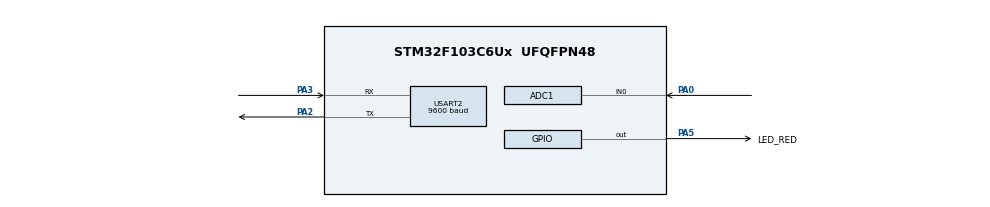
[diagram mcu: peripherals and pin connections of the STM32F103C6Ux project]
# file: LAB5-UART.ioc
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ADC1.Channel-0\#ChannelRegularConversion=ADC_CHANNEL_0
ADC1.ContinuousConvMode=ENABLE
ADC1.NbrOfConversionFlag=1
ADC1.Rank-0\#ChannelRegularConversion=1
ADC1.SamplingTime-0\#ChannelRegularConversion=ADC_SAMPLETIME_1CYCLE_5
ADC1.master=1
Mcu.Family=STM32F1
Mcu.Name=STM32F103C6Ux
Mcu.Package=UFQFPN48
NVIC.PriorityGroup=NVIC_PRIORITYGROUP_4
NVIC.TIM2_IRQn=true\:0\:0\:false\:false\:true\:true\:true
NVIC.USART2_IRQn=true\:0\:0\:false\:false\:true\:true\:true
PA0-WKUP.Signal=ADCx_IN0
PA2.Mode=Asynchronous
PA2.Signal=USART2_TX
PA3.Mode=Asynchronous
PA3.Signal=USART2_RX
PA5.GPIO_Label=LED_RED
PA5.Signal=GPIO_Output
ProjectManager.HeapSize=0x200
ProjectManager.StackSize=0x400
ProjectManager.TargetToolchain=STM32CubeIDE
RCC.APB1Freq_Value=8000000
RCC.APB2Freq_Value=8000000
SH.ADCx_IN0.0=ADC1_IN0,IN0
TIM2.Period=9
TIM2.Prescaler=7999
USART2.BaudRate=9600
USART2.VirtualMode=VM_ASYNC
VP_SYS_VS_ND.Mode=No_Debug
VP_TIM2_VS_ClockSourceINT.Mode=Internal
board=custom

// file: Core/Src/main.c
/* USER CODE BEGIN Header */
/**
  ******************************************************************************
  * @file           : main.c
  * @brief          : Main program body
  ******************************************************************************
  * @attention
  *
  * <h2><center>&copy; Copyright (c) 2026 STMicroelectronics.
  * All rights reserved.</center></h2>
  *
  * This software component is licensed by ST under BSD 3-Clause license,
  * the "License"; You may not use this file except in compliance with the
  * License. You may obtain a copy of the License at:
  *                        opensource.org/licenses/BSD-3-Clause
  *
  ******************************************************************************
  */
/* USER CODE END Header */
#include "main.h"

/* USER CODE BEGIN Includes */
#include "software_timer.h"
#include "command_parser.h"
#include "uart_communication.h"
/* USER CODE END Includes */

ADC_HandleTypeDef hadc1;

TIM_HandleTypeDef htim2;

UART_HandleTypeDef huart2;

void SystemClock_Config(void);
static void MX_GPIO_Init(void);
static void MX_ADC1_Init(void);
static void MX_USART2_UART_Init(void);
static void MX_TIM2_Init(void);

/* USER CODE BEGIN 0 */
uint8_t temp = 0;                           /* one received character */

/* UART interrupt: only store the character, the FSMs run in the main loop */
void HAL_UART_RxCpltCallback(UART_HandleTypeDef *huart)
{
    if (huart->Instance == USART2) {
        buffer_put(temp);                       /* put it in the ring buffer */
        HAL_UART_Receive_IT(&huart2, &temp, 1); /* receive the next one      */
    }
}

/* restart the reception if an error (e.g. overrun) stopped it */
void HAL_UART_ErrorCallback(UART_HandleTypeDef *huart)
{
    if (huart->Instance == USART2) {
        HAL_UART_Receive_IT(&huart2, &temp, 1);
    }
}

/* USER CODE END 0 */

int main(void)
{

  /* MCU Configuration--------------------------------------------------------*/

  /* Reset of all peripherals, Initializes the Flash interface and the Systick. */
  HAL_Init();

  /* Configure the system clock */
  SystemClock_Config();

  /* Initialize all configured peripherals */
  MX_GPIO_Init();
  MX_ADC1_Init();
  MX_USART2_UART_Init();
  MX_TIM2_Init();
  /* USER CODE BEGIN 2 */
  HAL_ADC_Start(&hadc1);                    /* start the ADC (continuous mode)     */
  HAL_UART_Receive_IT(&huart2, &temp, 1);   /* start receiving the first character */
  setTimer(TIMER_LED, 500);                 /* LED blinky every 500 ms             */
  /* USER CODE END 2 */

  /* Infinite loop */
  while (1)
  {

    /* USER CODE BEGIN 3 */
    if (huart2.RxState == HAL_UART_STATE_READY) {   /* reception stopped: restart it */
        HAL_UART_Receive_IT(&huart2, &temp, 1);
    }
    timerRun();                             /* update the software timers (SysTick) */
    if (buffer_flag == 1) {                 /* new character(s) received */
        buffer_flag = 0;
        command_parser_fsm();               /* FSM 1: extract the command */
    }
    uart_communication_fsm();               /* FSM 2: protocol !RST# / !ADC=...# / !OK# */

    if (timer_flag[TIMER_LED]) {            /* LED blinky, 500 ms */
        setTimer(TIMER_LED, 500);
        HAL_GPIO_TogglePin(LED_RED_GPIO_Port, LED_RED_Pin);
    }
  }
  /* USER CODE END 3 */
}

void SystemClock_Config(void)
{
  RCC_OscInitTypeDef RCC_OscInitStruct = {0};
  RCC_ClkInitTypeDef RCC_ClkInitStruct = {0};
  RCC_PeriphCLKInitTypeDef PeriphClkInit = {0};

  /** Initializes the RCC Oscillators according to the specified parameters
  * in the RCC_OscInitTypeDef structure.
  */
  RCC_OscInitStruct.OscillatorType = RCC_OSCILLATORTYPE_HSI;
  RCC_OscInitStruct.HSIState = RCC_HSI_ON;
  RCC_OscInitStruct.HSICalibrationValue = RCC_HSICALIBRATION_DEFAULT;
  RCC_OscInitStruct.PLL.PLLState = RCC_PLL_NONE;
  if (HAL_RCC_OscConfig(&RCC_OscInitStruct) != HAL_OK)
  {
    Error_Handler();
  }
  /** Initializes the CPU, AHB and APB buses clocks
  */
  RCC_ClkInitStruct.ClockType = RCC_CLOCKTYPE_HCLK|RCC_CLOCKTYPE_SYSCLK
                              |RCC_CLOCKTYPE_PCLK1|RCC_CLOCKTYPE_PCLK2;
  RCC_ClkInitStruct.SYSCLKSource = RCC_SYSCLKSOURCE_HSI;
  RCC_ClkInitStruct.AHBCLKDivider = RCC_SYSCLK_DIV1;
  RCC_ClkInitStruct.APB1CLKDivider = RCC_HCLK_DIV1;
  RCC_ClkInitStruct.APB2CLKDivider = RCC_HCLK_DIV1;

  if (HAL_RCC_ClockConfig(&RCC_ClkInitStruct, FLASH_LATENCY_0) != HAL_OK)
  {
    Error_Handler();
  }
  PeriphClkInit.PeriphClockSelection = RCC_PERIPHCLK_ADC;
  PeriphClkInit.AdcClockSelection = RCC_ADCPCLK2_DIV2;
  if (HAL_RCCEx_PeriphCLKConfig(&PeriphClkInit) != HAL_OK)
  {
    Error_Handler();
  }
}

static void MX_ADC1_Init(void)
{

  ADC_ChannelConfTypeDef sConfig = {0};

  /** Common config
  */
  hadc1.Instance = ADC1;
  hadc1.Init.ScanConvMode = ADC_SCAN_DISABLE;
  hadc1.Init.ContinuousConvMode = ENABLE;
  hadc1.Init.DiscontinuousConvMode = DISABLE;
  hadc1.Init.ExternalTrigConv = ADC_SOFTWARE_START;
  hadc1.Init.DataAlign = ADC_DATAALIGN_RIGHT;
  hadc1.Init.NbrOfConversion = 1;
  if (HAL_ADC_Init(&hadc1) != HAL_OK)
  {
    Error_Handler();
  }
  /** Configure Regular Channel
  */
  sConfig.Channel = ADC_CHANNEL_0;
  sConfig.Rank = ADC_REGULAR_RANK_1;
  sConfig.SamplingTime = ADC_SAMPLETIME_1CYCLE_5;
  if (HAL_ADC_ConfigChannel(&hadc1, &sConfig) != HAL_OK)
  {
    Error_Handler();
  }

}

static void MX_TIM2_Init(void)
{

  TIM_ClockConfigTypeDef sClockSourceConfig = {0};
  TIM_MasterConfigTypeDef sMasterConfig = {0};

  htim2.Instance = TIM2;
  htim2.Init.Prescaler = 7999;
  htim2.Init.CounterMode = TIM_COUNTERMODE_UP;
  htim2.Init.Period = 9;
  htim2.Init.ClockDivision = TIM_CLOCKDIVISION_DIV1;
  htim2.Init.AutoReloadPreload = TIM_AUTORELOAD_PRELOAD_DISABLE;
  if (HAL_TIM_Base_Init(&htim2) != HAL_OK)
  {
    Error_Handler();
  }
  sClockSourceConfig.ClockSource = TIM_CLOCKSOURCE_INTERNAL;
  if (HAL_TIM_ConfigClockSource(&htim2, &sClockSourceConfig) != HAL_OK)
  {
    Error_Handler();
  }
  sMasterConfig.MasterOutputTrigger = TIM_TRGO_RESET;
  sMasterConfig.MasterSlaveMode = TIM_MASTERSLAVEMODE_DISABLE;
  if (HAL_TIMEx_MasterConfigSynchronization(&htim2, &sMasterConfig) != HAL_OK)
  {
    Error_Handler();
  }

}

static void MX_USART2_UART_Init(void)
{

  huart2.Instance = USART2;
  huart2.Init.BaudRate = 9600;
  huart2.Init.WordLength = UART_WORDLENGTH_8B;
  huart2.Init.StopBits = UART_STOPBITS_1;
  huart2.Init.Parity = UART_PARITY_NONE;
  huart2.Init.Mode = UART_MODE_TX_RX;
  huart2.Init.HwFlowCtl = UART_HWCONTROL_NONE;
  huart2.Init.OverSampling = UART_OVERSAMPLING_16;
  if (HAL_UART_Init(&huart2) != HAL_OK)
  {
    Error_Handler();
  }

}

static void MX_GPIO_Init(void)
{
  GPIO_InitTypeDef GPIO_InitStruct = {0};

  /* GPIO Ports Clock Enable */
  __HAL_RCC_GPIOA_CLK_ENABLE();

  /*Configure GPIO pin Output Level */
  HAL_GPIO_WritePin(LED_RED_GPIO_Port, LED_RED_Pin, GPIO_PIN_RESET);

  /*Configure GPIO pin : LED_RED_Pin */
  GPIO_InitStruct.Pin = LED_RED_Pin;
  GPIO_InitStruct.Mode = GPIO_MODE_OUTPUT_PP;
  GPIO_InitStruct.Pull = GPIO_NOPULL;
  GPIO_InitStruct.Speed = GPIO_SPEED_FREQ_LOW;
  HAL_GPIO_Init(LED_RED_GPIO_Port, &GPIO_InitStruct);

}

void Error_Handler(void)
{
  __disable_irq();
  while (1)
  {
  }
}

/************************ (C) COPYRIGHT STMicroelectronics *****END OF FILE****/
